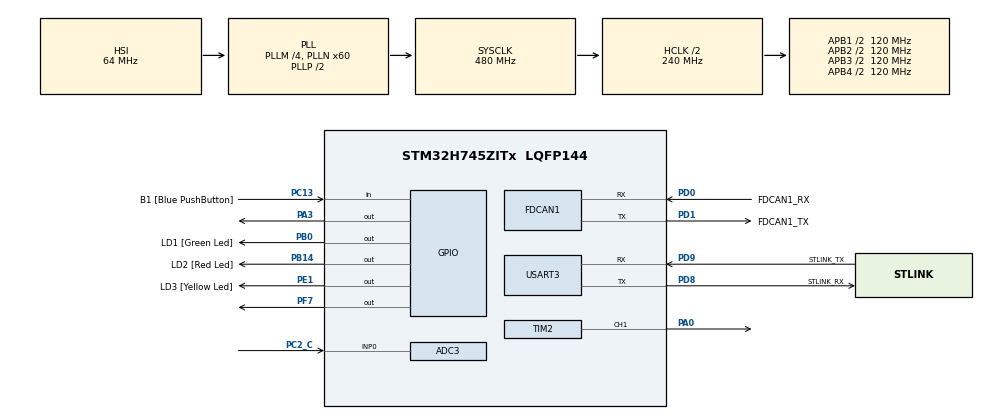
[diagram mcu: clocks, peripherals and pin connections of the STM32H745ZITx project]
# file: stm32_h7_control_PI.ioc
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ADC3.Channel-0\#ChannelRegularConversion=ADC_CHANNEL_0
ADC3.NbrOfConversionFlag=1
ADC3.OffsetNumber-0\#ChannelRegularConversion=ADC_OFFSET_NONE
ADC3.OffsetSignedSaturation-0\#ChannelRegularConversion=DISABLE
ADC3.Rank-0\#ChannelRegularConversion=1
ADC3.SamplingTime-0\#ChannelRegularConversion=ADC_SAMPLETIME_1CYCLE_5
CortexM4.IPs=BDMA,CORTEX_M4\:I,DEBUG,DMA,FATFS_M4\:I,FREERTOS_M4\:I,GPIO,IWDG2\:I,MDMA,NVIC2\:I,OPENAMP_M4\:I,PDM2PCM_M4\:I,PWR,RCC,RESMGR_UTILITY,SYS_M4\:I,USB_DEVICE_M4\:I,USB_HOST_M4\:I,VREFBUF,WWDG2\:I,USART3
CortexM4.Pins=PE1
CortexM7.IPs=BDMA\:I,CORTEX_M7\:I,DEBUG\:I,DMA\:I,FATFS_M7\:I,FREERTOS_M7\:I,GPIO\:I,IWDG1\:I,MDMA\:I,NVIC1\:I,OPENAMP_M7\:I,PDM2PCM_M7\:I,PWR\:I,RCC\:I,RESMGR_UTILITY\:I,SYS\:I,USB_DEVICE_M7\:I,USB_HOST_M7\:I,VREFBUF\:I,WWDG1\:I,USART3\:I,FDCAN1\:I,ADC3\:I,TIM2\:I
CortexM7.Pins=PC13,PF7,PA3,PB0,PB14
FDCAN1.CalculateBaudRateNominal=250000
FDCAN1.CalculateTimeBitNominal=4000
FDCAN1.CalculateTimeQuantumNominal=50.0
FDCAN1.Mode=FDCAN_MODE_NORMAL
FDCAN1.NominalPrescaler=2
FDCAN1.NominalSyncJumpWidth=8
FDCAN1.NominalTimeSeg1=0x3F
FDCAN1.NominalTimeSeg2=16
FDCAN1.ProtocolException=ENABLE
FDCAN1.RxFifo0ElmtsNbr=1
FDCAN1.StdFiltersNbr=1
FDCAN1.TxFifoQueueElmtsNbr=1
Mcu.Family=STM32H7
Mcu.Name=STM32H745ZITx
Mcu.Package=LQFP144
NVIC1.PriorityGroup=NVIC_PRIORITYGROUP_4
NVIC2.PriorityGroup=NVIC_PRIORITYGROUP_4
PA0.PinAttribute=CortexM7
PA0.Signal=S_TIM2_CH1_ETR
PA13\ (JTMS/SWDIO).Mode=Serial_Wire
PA13\ (JTMS/SWDIO).PinAttribute=CortexM7
PA13\ (JTMS/SWDIO).Signal=DEBUG_JTMS-SWDIO
PA14\ (JTCK/SWCLK).Mode=Serial_Wire
PA14\ (JTCK/SWCLK).PinAttribute=CortexM7
PA14\ (JTCK/SWCLK).Signal=DEBUG_JTCK-SWCLK
PA3.PinAttribute=CortexM7
PA3.Signal=GPIO_Output
PB0.GPIO_Label=LD1 [Green Led]
PB0.PinAttribute=CortexM7
PB0.Signal=GPIO_Output
PB14.GPIO_Label=LD2 [Red Led]
PB14.PinAttribute=CortexM7
PB14.Signal=GPIO_Output
PC13.GPIO_Label=B1 [Blue PushButton]
PC13.PinAttribute=CortexM7
PC13.Signal=GPIO_Input
PC14-OSC32_IN\ (OSC32_IN).Mode=LSE-External-Oscillator
PC14-OSC32_IN\ (OSC32_IN).PinAttribute=CortexM7
PC14-OSC32_IN\ (OSC32_IN).Signal=RCC_OSC32_IN
PC15-OSC32_OUT\ (OSC32_OUT).Mode=LSE-External-Oscillator
PC15-OSC32_OUT\ (OSC32_OUT).PinAttribute=CortexM7
PC15-OSC32_OUT\ (OSC32_OUT).Signal=RCC_OSC32_OUT
PC2_C.Mode=IN0-Single-Ended
PC2_C.PinAttribute=CortexM7
PC2_C.Signal=ADC3_INP0
PD0.GPIO_Label=FDCAN1_RX
PD0.GPIO_Speed=GPIO_SPEED_FREQ_VERY_HIGH
PD0.Mode=FDCAN_Activate
PD0.PinAttribute=CortexM7
PD0.Signal=FDCAN1_RX
PD1.GPIO_Label=FDCAN1_TX
PD1.GPIO_PuPd=GPIO_PULLUP
PD1.GPIO_Speed=GPIO_SPEED_FREQ_VERY_HIGH
PD1.Mode=FDCAN_Activate
PD1.PinAttribute=CortexM7
PD1.Signal=FDCAN1_TX
PD8.GPIO_Label=STLINK_RX
PD8.Mode=Asynchronous
PD8.PinAttribute=CortexM7
PD8.Signal=USART3_TX
PD9.GPIO_Label=STLINK_TX
PD9.Mode=Asynchronous
PD9.PinAttribute=CortexM7
PD9.Signal=USART3_RX
PE1.GPIO_Label=LD3 [Yellow Led]
PE1.PinAttribute=CortexM4
PE1.Signal=GPIO_Output
PF7.PinAttribute=CortexM7
PF7.Signal=GPIO_Output
PH0-OSC_IN\ (PH0).Mode=HSE-External-Oscillator
PH0-OSC_IN\ (PH0).PinAttribute=CortexM7
PH0-OSC_IN\ (PH0).Signal=RCC_OSC_IN
PH1-OSC_OUT\ (PH1).Mode=HSE-External-Oscillator
PH1-OSC_OUT\ (PH1).PinAttribute=CortexM7
PH1-OSC_OUT\ (PH1).Signal=RCC_OSC_OUT
ProjectManager.HeapSize=M4-0x200,M7-0x200
ProjectManager.StackSize=M4-0x400,M7-0x400
ProjectManager.TargetToolchain=STM32CubeIDE
RCC.ADCFreq_Value=80000000
RCC.APB1Freq_Value=120000000
RCC.APB2Freq_Value=120000000
RCC.APB3Freq_Value=120000000
RCC.APB4Freq_Value=120000000
RCC.CortexFreq_Value=480000000
RCC.D1PPRE=RCC_APB3_DIV2
RCC.D2PPRE1=RCC_APB1_DIV2
RCC.D2PPRE2=RCC_APB2_DIV2
RCC.D3PPRE=RCC_APB4_DIV2
RCC.DIVM1=4
RCC.DIVM2=4
RCC.DIVN1=60
RCC.DIVN2=10
RCC.DIVQ1=24
RCC.HCLKFreq_Value=240000000
RCC.HPRE=RCC_HCLK_DIV2
RCC.HSE_VALUE=8000000
RCC.SYSCLKFreq_VALUE=480000000
RCC.SYSCLKSource=RCC_SYSCLKSOURCE_PLLCLK
RCC.USBFreq_Value=40000000
SH.S_TIM2_CH1_ETR.0=TIM2_CH1,PWM Generation1 CH1
SYS.userName=SYS_M7
TIM2.AutoReloadPreload=TIM_AUTORELOAD_PRELOAD_ENABLE
TIM2.Channel-PWM\ Generation1\ CH1=TIM_CHANNEL_1
TIM2.Period=65535
USART3.VirtualMode-Asynchronous=VM_ASYNC
VP_SYS_M4_VS_Systick.Mode=SysTick
VP_TIM2_VS_ClockSourceINT.Mode=Internal
board=custom

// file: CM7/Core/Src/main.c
/* USER CODE BEGIN Header */
/**
  ******************************************************************************
  * @file           : main.c
  * @brief          : Main program body
  ******************************************************************************
  * @attention
  *
  * Copyright (c) 2022 STMicroelectronics.
  * All rights reserved.
  *
  * This software is licensed under terms that can be found in the LICENSE file
  * in the root directory of this software component.
  * If no LICENSE file comes with this software, it is provided AS-IS.
  *
  ******************************************************************************
  */
/* USER CODE END Header */
#include "main.h"

/* USER CODE BEGIN Includes */
#include "myprintf.h"
/* USER CODE END Includes */

/* USER CODE BEGIN PD */

#ifndef HSEM_ID_0
#define HSEM_ID_0 (0U) /* HW semaphore 0*/
#endif
/* USER CODE END PD */

ADC_HandleTypeDef hadc3;

FDCAN_HandleTypeDef hfdcan1;

TIM_HandleTypeDef htim2;

UART_HandleTypeDef huart3;

/* USER CODE BEGIN PV */
FDCAN_FilterTypeDef sFilterConfig;
FDCAN_TxHeaderTypeDef TxHeader;
FDCAN_RxHeaderTypeDef RxHeader;
uint8_t TxData[8] = {0x00, 0xFF, 0xFF, 0xFF, 0xFF, 0xFF, 0xFF, 0xFF};
uint8_t RxData[8];
double e=0.0,e_1=0.0,u=0.0,u_1=0.0;
double kp,ti,q0,q1;
/* USER CODE END PV */

void SystemClock_Config(void);
static void MX_GPIO_Init(void);
static void MX_USART3_UART_Init(void);
static void MX_FDCAN1_Init(void);
static void MX_ADC3_Init(void);
static void MX_TIM2_Init(void);

/* USER CODE BEGIN 0 */
void PID_Initialize( void ){
    double T = 1;			//sample rate
    //Complete here with the identified
    //parameters of the plant
    double k = 0.1666;
    double tao = 26.7;
    double theta = 0.5;

    //Calculate the coefficients for
    //the discrete PID controller
    kp = (0.9 * tao) / (k * theta);
    ti = 3.33 * theta;
    q0 = kp + ((kp * T)/(2.0 * ti));
    q1 = ((kp * T)/(2.0 * ti)) - kp;
}

double PID_Discrete( double yM, double setpoint ){
    double R = setpoint;			//set-point
    e = R - yM;			//calculate the error
    u = u_1 + q0*e + q1*e_1;	//discrete PID controller
    //Saturate the controller with upper and lower limits
    if(u >= 33) u = 33;	     //maximum pressure value
    if(u <= 0) u = 0; 	     //minimum pressure value
    e_1 = e;
    u_1 = u;
    return u;
    }

/* USER CODE END 0 */

int main(void)
{
  /* USER CODE BEGIN 1 */
	uint16_t raw;
	double psi = 0;
	uint16_t pressureZero = 18000;
	uint16_t pressureMax = 62000;
	int32_t CH1_DC = 60000;
  /* USER CODE END 1 */
/* USER CODE BEGIN Boot_Mode_Sequence_0 */
  int32_t timeout;
/* USER CODE END Boot_Mode_Sequence_0 */

/* USER CODE BEGIN Boot_Mode_Sequence_1 */
  /* Wait until CPU2 boots and enters in stop mode or timeout*/
  timeout = 0xFFFF;
  while((__HAL_RCC_GET_FLAG(RCC_FLAG_D2CKRDY) != RESET) && (timeout-- > 0));
  if ( timeout < 0 )
  {
  Error_Handler();
  }
/* USER CODE END Boot_Mode_Sequence_1 */
  /* MCU Configuration--------------------------------------------------------*/

  /* Reset of all peripherals, Initializes the Flash interface and the Systick. */
  HAL_Init();

  /* USER CODE BEGIN Init */
PID_Initialize();
  /* USER CODE END Init */

  /* Configure the system clock */
  SystemClock_Config();
/* USER CODE BEGIN Boot_Mode_Sequence_2 */
/* When system initialization is finished, Cortex-M7 will release Cortex-M4 by means of
HSEM notification */
/*HW semaphore Clock enable*/
__HAL_RCC_HSEM_CLK_ENABLE();
/*Take HSEM */
HAL_HSEM_FastTake(HSEM_ID_0);
/*Release HSEM in order to notify the CPU2(CM4)*/
HAL_HSEM_Release(HSEM_ID_0,0);
/* wait until CPU2 wakes up from stop mode */
timeout = 0xFFFF;
while((__HAL_RCC_GET_FLAG(RCC_FLAG_D2CKRDY) == RESET) && (timeout-- > 0));
if ( timeout < 0 )
{
Error_Handler();
}
/* USER CODE END Boot_Mode_Sequence_2 */

  /* Initialize all configured peripherals */
	MX_GPIO_Init();
	MX_USART3_UART_Init();
	MX_FDCAN1_Init();
	MX_ADC3_Init();
	MX_TIM2_Init();
  /* USER CODE BEGIN 2 */
	HAL_TIM_PWM_Start(&htim2, TIM_CHANNEL_1);
	double out;
	double tmpPSI;

	int dataSize;
	float setpointPSI = 10;
	float prevPSI = 0;
  /* USER CODE END 2 */

  /* Infinite loop */
  /* USER CODE BEGIN WHILE */
  printf("Hello World\n\r");
  while (1)
  {
	  /*
	  	//Sensor
	    HAL_ADC_Start(&hadc3);
		HAL_ADC_PollForConversion(&hadc3, HAL_MAX_DELAY);
		raw = HAL_ADC_GetValue(&hadc3);

		printf("Raw = %d analog  \n\r", raw);
		if(abs((int)prevPSI - (int)psi) < 65000){
			psi = (((float)raw - pressureZero)*33.0)/(pressureMax-pressureZero); // Conversor de valor analógico a PSI.
			psi = roundf(psi * 100) / 100;
		}
		else{
			psi = prevPSI;
		}
		prevPSI = psi;
		printf("Pressure = %f PSI  \n\r", psi);
		//printf("%f\n\r", psi);

		//CAN
		TxData[0] = roundf(psi);
		HAL_FDCAN_AddMessageToTxFifoQ(&hfdcan1, &TxHeader, TxData);

		if (HAL_FDCAN_GetRxMessage(&hfdcan1, FDCAN_RX_FIFO0, &RxHeader, RxData) != HAL_OK){

		}
		else{
		   printf("\n\rCAN ID: %x %x ", RxHeader.Identifier, RxHeader.DataLength);
		   dataSize = RxHeader.DataLength >> 16;
		   for( int i = 0; i < dataSize; i++){
			   printf(" %x", RxData[i]);
		   }
		   printf("\n\r");
		   if(RxHeader.Identifier == 0x04FEF9A3){
			   setpointPSI = (float)RxData[0];
			   if(setpointPSI == 0){
				   setpointPSI = 6;
			   }
		   }
		}

		//Control
		tmpPSI = (double)psi;
		out = PID_Discrete(tmpPSI, setpointPSI);
		printf("PI %lf\n\r", out);

		//Actuador
		if (psi > setpointPSI+0.5){
			HAL_GPIO_WritePin(GPIOA, GPIO_PIN_3, GPIO_PIN_RESET);
			HAL_Delay(30);
			HAL_GPIO_WritePin(GPIOA, GPIO_PIN_3, GPIO_PIN_SET);
		}
		else if(psi< setpointPSI-0.5){
			HAL_GPIO_WritePin(GPIOA, GPIO_PIN_3, GPIO_PIN_SET);
			TIM2->CCR1 = CH1_DC*(out/33);
		}
		else{
			HAL_GPIO_WritePin(GPIOA, GPIO_PIN_3, GPIO_PIN_SET);
			TIM2->CCR1 = 0;
		}

		HAL_GPIO_TogglePin(LD1_GPIO_Port,LD1_Pin);
		HAL_Delay(200);*/

	  //PWM test code
	  while(CH1_DC > 1)
	  		{
	  		  TIM2->CCR1 = CH1_DC;
	  		  CH1_DC -= 70;
	  		  HAL_Delay(10);
	  		}
	  while(CH1_DC < 65535)
		{
		  TIM2->CCR1 = CH1_DC;
		  CH1_DC += 70;
		  HAL_Delay(10);
		}

    /* USER CODE END WHILE */

  }
}

void SystemClock_Config(void)
{
  RCC_OscInitTypeDef RCC_OscInitStruct = {0};
  RCC_ClkInitTypeDef RCC_ClkInitStruct = {0};

  /** Supply configuration update enable
  */
  HAL_PWREx_ConfigSupply(PWR_DIRECT_SMPS_SUPPLY);

  /** Configure the main internal regulator output voltage
  */
  __HAL_PWR_VOLTAGESCALING_CONFIG(PWR_REGULATOR_VOLTAGE_SCALE0);

  while(!__HAL_PWR_GET_FLAG(PWR_FLAG_VOSRDY)) {}

  /** Macro to configure the PLL clock source
  */
  __HAL_RCC_PLL_PLLSOURCE_CONFIG(RCC_PLLSOURCE_HSI);

  /** Initializes the RCC Oscillators according to the specified parameters
  * in the RCC_OscInitTypeDef structure.
  */
  RCC_OscInitStruct.OscillatorType = RCC_OSCILLATORTYPE_HSI;
  RCC_OscInitStruct.HSIState = RCC_HSI_DIV1;
  RCC_OscInitStruct.HSICalibrationValue = RCC_HSICALIBRATION_DEFAULT;
  RCC_OscInitStruct.PLL.PLLState = RCC_PLL_ON;
  RCC_OscInitStruct.PLL.PLLSource = RCC_PLLSOURCE_HSI;
  RCC_OscInitStruct.PLL.PLLM = 4;
  RCC_OscInitStruct.PLL.PLLN = 60;
  RCC_OscInitStruct.PLL.PLLP = 2;
  RCC_OscInitStruct.PLL.PLLQ = 24;
  RCC_OscInitStruct.PLL.PLLR = 2;
  RCC_OscInitStruct.PLL.PLLRGE = RCC_PLL1VCIRANGE_3;
  RCC_OscInitStruct.PLL.PLLVCOSEL = RCC_PLL1VCOWIDE;
  RCC_OscInitStruct.PLL.PLLFRACN = 0;
  if (HAL_RCC_OscConfig(&RCC_OscInitStruct) != HAL_OK)
  {
    Error_Handler();
  }

  /** Initializes the CPU, AHB and APB buses clocks
  */
  RCC_ClkInitStruct.ClockType = RCC_CLOCKTYPE_HCLK|RCC_CLOCKTYPE_SYSCLK
                              |RCC_CLOCKTYPE_PCLK1|RCC_CLOCKTYPE_PCLK2
                              |RCC_CLOCKTYPE_D3PCLK1|RCC_CLOCKTYPE_D1PCLK1;
  RCC_ClkInitStruct.SYSCLKSource = RCC_SYSCLKSOURCE_PLLCLK;
  RCC_ClkInitStruct.SYSCLKDivider = RCC_SYSCLK_DIV1;
  RCC_ClkInitStruct.AHBCLKDivider = RCC_HCLK_DIV2;
  RCC_ClkInitStruct.APB3CLKDivider = RCC_APB3_DIV2;
  RCC_ClkInitStruct.APB1CLKDivider = RCC_APB1_DIV2;
  RCC_ClkInitStruct.APB2CLKDivider = RCC_APB2_DIV2;
  RCC_ClkInitStruct.APB4CLKDivider = RCC_APB4_DIV2;

  if (HAL_RCC_ClockConfig(&RCC_ClkInitStruct, FLASH_LATENCY_4) != HAL_OK)
  {
    Error_Handler();
  }
}

static void MX_ADC3_Init(void)
{

  ADC_ChannelConfTypeDef sConfig = {0};

  /** Common config
  */
  hadc3.Instance = ADC3;
  hadc3.Init.Resolution = ADC_RESOLUTION_16B;
  hadc3.Init.ScanConvMode = ADC_SCAN_DISABLE;
  hadc3.Init.EOCSelection = ADC_EOC_SINGLE_CONV;
  hadc3.Init.LowPowerAutoWait = DISABLE;
  hadc3.Init.ContinuousConvMode = DISABLE;
  hadc3.Init.NbrOfConversion = 1;
  hadc3.Init.DiscontinuousConvMode = DISABLE;
  hadc3.Init.ExternalTrigConv = ADC_SOFTWARE_START;
  hadc3.Init.ExternalTrigConvEdge = ADC_EXTERNALTRIGCONVEDGE_NONE;
  hadc3.Init.ConversionDataManagement = ADC_CONVERSIONDATA_DR;
  hadc3.Init.Overrun = ADC_OVR_DATA_PRESERVED;
  hadc3.Init.LeftBitShift = ADC_LEFTBITSHIFT_NONE;
  hadc3.Init.OversamplingMode = DISABLE;
  if (HAL_ADC_Init(&hadc3) != HAL_OK)
  {
    Error_Handler();
  }

  /** Configure Regular Channel
  */
  sConfig.Channel = ADC_CHANNEL_0;
  sConfig.Rank = ADC_REGULAR_RANK_1;
  sConfig.SamplingTime = ADC_SAMPLETIME_1CYCLE_5;
  sConfig.SingleDiff = ADC_SINGLE_ENDED;
  sConfig.OffsetNumber = ADC_OFFSET_NONE;
  sConfig.Offset = 0;
  sConfig.OffsetSignedSaturation = DISABLE;
  if (HAL_ADC_ConfigChannel(&hadc3, &sConfig) != HAL_OK)
  {
    Error_Handler();
  }

}

static void MX_FDCAN1_Init(void)
{

  hfdcan1.Instance = FDCAN1;
  hfdcan1.Init.FrameFormat = FDCAN_FRAME_CLASSIC;
  hfdcan1.Init.Mode = FDCAN_MODE_NORMAL;
  hfdcan1.Init.AutoRetransmission = DISABLE;
  hfdcan1.Init.TransmitPause = DISABLE;
  hfdcan1.Init.ProtocolException = ENABLE;
  hfdcan1.Init.NominalPrescaler = 2;
  hfdcan1.Init.NominalSyncJumpWidth = 8;
  hfdcan1.Init.NominalTimeSeg1 = 0x3F;
  hfdcan1.Init.NominalTimeSeg2 = 16;
  hfdcan1.Init.DataPrescaler = 1;
  hfdcan1.Init.DataSyncJumpWidth = 1;
  hfdcan1.Init.DataTimeSeg1 = 1;
  hfdcan1.Init.DataTimeSeg2 = 1;
  hfdcan1.Init.MessageRAMOffset = 0;
  hfdcan1.Init.StdFiltersNbr = 1;
  hfdcan1.Init.ExtFiltersNbr = 0;
  hfdcan1.Init.RxFifo0ElmtsNbr = 1;
  hfdcan1.Init.RxFifo0ElmtSize = FDCAN_DATA_BYTES_8;
  hfdcan1.Init.RxFifo1ElmtsNbr = 0;
  hfdcan1.Init.RxFifo1ElmtSize = FDCAN_DATA_BYTES_8;
  hfdcan1.Init.RxBuffersNbr = 0;
  hfdcan1.Init.RxBufferSize = FDCAN_DATA_BYTES_8;
  hfdcan1.Init.TxEventsNbr = 0;
  hfdcan1.Init.TxBuffersNbr = 0;
  hfdcan1.Init.TxFifoQueueElmtsNbr = 1;
  hfdcan1.Init.TxFifoQueueMode = FDCAN_TX_FIFO_OPERATION;
  hfdcan1.Init.TxElmtSize = FDCAN_DATA_BYTES_8;
  if (HAL_FDCAN_Init(&hfdcan1) != HAL_OK)
  {
    Error_Handler();
  }
  /* USER CODE BEGIN FDCAN1_Init 2 */

  /*AAO+*/
 /* Configure Rx filter */
  sFilterConfig.IdType = FDCAN_EXTENDED_ID;
  sFilterConfig.FilterIndex = 0;
  sFilterConfig.FilterType = FDCAN_FILTER_MASK;
  sFilterConfig.FilterConfig = FDCAN_FILTER_TO_RXFIFO0;
  sFilterConfig.FilterID1 = 0x311;
  sFilterConfig.FilterID2 = 0x000;
  //sFilterConfig.FilterID1 = 0x321;
  //sFilterConfig.FilterID2 = 0x7FF;

  /* Configure global filter to reject all non-matching frames */
  //HAL_FDCAN_ConfigGlobalFilter(&hfdcan1, FDCAN_REJECT, FDCAN_REJECT, FDCAN_REJECT_REMOTE, FDCAN_REJECT_REMOTE);

  if (HAL_FDCAN_ConfigFilter(&hfdcan1, &sFilterConfig) != HAL_OK)
	{
	   /* Filter configuration Error */
	   Error_Handler();
	}
   /* Start the FDCAN module */
  if (HAL_FDCAN_Start(&hfdcan1) != HAL_OK){

  }
	   /* Start Error */
  if (HAL_FDCAN_ActivateNotification(&hfdcan1, FDCAN_IT_RX_FIFO0_NEW_MESSAGE, 0) != HAL_OK){

  }
	   /* Notification Error */

   /* Configure Tx buffer message */
  TxHeader.Identifier = 0x18FEEEA3;
  TxHeader.IdType = FDCAN_EXTENDED_ID;
  TxHeader.TxFrameType = FDCAN_DATA_FRAME;
  TxHeader.DataLength = FDCAN_DLC_BYTES_8;
  TxHeader.ErrorStateIndicator = FDCAN_ESI_ACTIVE;
  TxHeader.BitRateSwitch = FDCAN_BRS_ON;
  TxHeader.FDFormat = FDCAN_FD_CAN;
  TxHeader.TxEventFifoControl = FDCAN_NO_TX_EVENTS;
  TxHeader.MessageMarker = 0x00;
 /*AAO-*/

  /* USER CODE END FDCAN1_Init 2 */

}

static void MX_TIM2_Init(void)
{

  TIM_ClockConfigTypeDef sClockSourceConfig = {0};
  TIM_MasterConfigTypeDef sMasterConfig = {0};
  TIM_OC_InitTypeDef sConfigOC = {0};

  htim2.Instance = TIM2;
  htim2.Init.Prescaler = 0;
  htim2.Init.CounterMode = TIM_COUNTERMODE_UP;
  htim2.Init.Period = 65535;
  htim2.Init.ClockDivision = TIM_CLOCKDIVISION_DIV1;
  htim2.Init.AutoReloadPreload = TIM_AUTORELOAD_PRELOAD_ENABLE;
  if (HAL_TIM_Base_Init(&htim2) != HAL_OK)
  {
    Error_Handler();
  }
  sClockSourceConfig.ClockSource = TIM_CLOCKSOURCE_INTERNAL;
  if (HAL_TIM_ConfigClockSource(&htim2, &sClockSourceConfig) != HAL_OK)
  {
    Error_Handler();
  }
  if (HAL_TIM_PWM_Init(&htim2) != HAL_OK)
  {
    Error_Handler();
  }
  sMasterConfig.MasterOutputTrigger = TIM_TRGO_RESET;
  sMasterConfig.MasterSlaveMode = TIM_MASTERSLAVEMODE_DISABLE;
  if (HAL_TIMEx_MasterConfigSynchronization(&htim2, &sMasterConfig) != HAL_OK)
  {
    Error_Handler();
  }
  sConfigOC.OCMode = TIM_OCMODE_PWM1;
  sConfigOC.Pulse = 0;
  sConfigOC.OCPolarity = TIM_OCPOLARITY_HIGH;
  sConfigOC.OCFastMode = TIM_OCFAST_DISABLE;
  if (HAL_TIM_PWM_ConfigChannel(&htim2, &sConfigOC, TIM_CHANNEL_1) != HAL_OK)
  {
    Error_Handler();
  }
  HAL_TIM_MspPostInit(&htim2);

}

static void MX_USART3_UART_Init(void)
{

  huart3.Instance = USART3;
  huart3.Init.BaudRate = 115200;
  huart3.Init.WordLength = UART_WORDLENGTH_8B;
  huart3.Init.StopBits = UART_STOPBITS_1;
  huart3.Init.Parity = UART_PARITY_NONE;
  huart3.Init.Mode = UART_MODE_TX_RX;
  huart3.Init.HwFlowCtl = UART_HWCONTROL_NONE;
  huart3.Init.OverSampling = UART_OVERSAMPLING_16;
  huart3.Init.OneBitSampling = UART_ONE_BIT_SAMPLE_DISABLE;
  huart3.Init.ClockPrescaler = UART_PRESCALER_DIV1;
  huart3.AdvancedInit.AdvFeatureInit = UART_ADVFEATURE_NO_INIT;
  if (HAL_UART_Init(&huart3) != HAL_OK)
  {
    Error_Handler();
  }
  if (HAL_UARTEx_SetTxFifoThreshold(&huart3, UART_TXFIFO_THRESHOLD_1_8) != HAL_OK)
  {
    Error_Handler();
  }
  if (HAL_UARTEx_SetRxFifoThreshold(&huart3, UART_RXFIFO_THRESHOLD_1_8) != HAL_OK)
  {
    Error_Handler();
  }
  if (HAL_UARTEx_DisableFifoMode(&huart3) != HAL_OK)
  {
    Error_Handler();
  }

}

static void MX_GPIO_Init(void)
{
  GPIO_InitTypeDef GPIO_InitStruct = {0};

  /* GPIO Ports Clock Enable */
  __HAL_RCC_GPIOC_CLK_ENABLE();
  __HAL_RCC_GPIOF_CLK_ENABLE();
  __HAL_RCC_GPIOH_CLK_ENABLE();
  __HAL_RCC_GPIOA_CLK_ENABLE();
  __HAL_RCC_GPIOB_CLK_ENABLE();
  __HAL_RCC_GPIOD_CLK_ENABLE();

  /*Configure GPIO pin Output Level */
  HAL_GPIO_WritePin(GPIOF, GPIO_PIN_7, GPIO_PIN_RESET);

  /*Configure GPIO pin Output Level */
  HAL_GPIO_WritePin(GPIOA, GPIO_PIN_3, GPIO_PIN_RESET);

  /*Configure GPIO pin Output Level */
  HAL_GPIO_WritePin(GPIOB, LD1_Pin|LD2_Pin, GPIO_PIN_RESET);

  /*Configure GPIO pin : B1_Pin */
  GPIO_InitStruct.Pin = B1_Pin;
  GPIO_InitStruct.Mode = GPIO_MODE_INPUT;
  GPIO_InitStruct.Pull = GPIO_NOPULL;
  HAL_GPIO_Init(B1_GPIO_Port, &GPIO_InitStruct);

  /*Configure GPIO pin : PF7 */
  GPIO_InitStruct.Pin = GPIO_PIN_7;
  GPIO_InitStruct.Mode = GPIO_MODE_OUTPUT_PP;
  GPIO_InitStruct.Pull = GPIO_NOPULL;
  GPIO_InitStruct.Speed = GPIO_SPEED_FREQ_LOW;
  HAL_GPIO_Init(GPIOF, &GPIO_InitStruct);

  /*Configure GPIO pin : PA3 */
  GPIO_InitStruct.Pin = GPIO_PIN_3;
  GPIO_InitStruct.Mode = GPIO_MODE_OUTPUT_PP;
  GPIO_InitStruct.Pull = GPIO_NOPULL;
  GPIO_InitStruct.Speed = GPIO_SPEED_FREQ_LOW;
  HAL_GPIO_Init(GPIOA, &GPIO_InitStruct);

  /*Configure GPIO pins : LD1_Pin LD2_Pin */
  GPIO_InitStruct.Pin = LD1_Pin|LD2_Pin;
  GPIO_InitStruct.Mode = GPIO_MODE_OUTPUT_PP;
  GPIO_InitStruct.Pull = GPIO_NOPULL;
  GPIO_InitStruct.Speed = GPIO_SPEED_FREQ_LOW;
  HAL_GPIO_Init(GPIOB, &GPIO_InitStruct);

}

void Error_Handler(void)
{
  __disable_irq();
  while (1)
  {
  }
}
